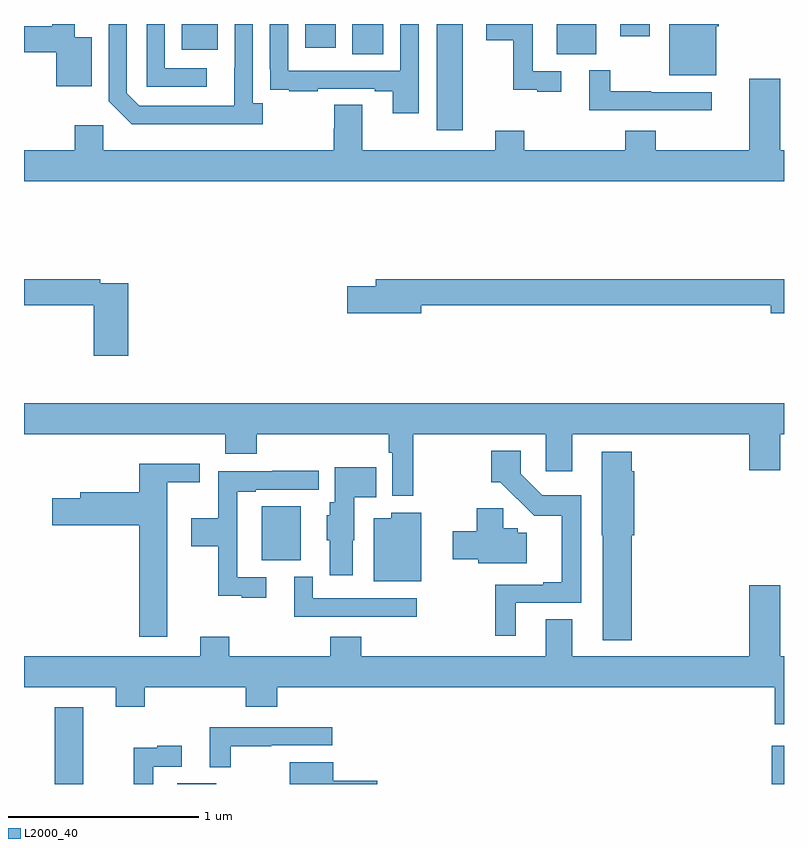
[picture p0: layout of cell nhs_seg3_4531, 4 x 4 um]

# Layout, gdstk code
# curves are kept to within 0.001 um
import gdstk
lib = gdstk.Library(unit=1e-6, precision=1e-09)
def R(c, l, rs):  # rectangles x0, y0, x1, y1
    for r in rs: c.add(gdstk.rectangle(r[:2], r[2:], *l))
def P(c, l, *ps):  # polygons
    for p in ps: c.add(gdstk.Polygon(p, *l))
L2000_40 = (2000, 40)

nhs_seg3_4531 = lib.new_cell('nhs_seg3_4531')
R(nhs_seg3_4531, L2000_40, [(353.162,708.4,353.311,708.805), (353.807,708.4,354.013,708.403), (356.936,708.4,357,708.601), (354.251,709.577,354.457,709.861), (355.172,711.84,355.309,712.4), (354.728,712.24,354.892,712.4), (355.805,712.241,356.011,712.4), (353.831,712.265,354.019,712.4), (354.479,712.275,354.64,712.4), (356.139,712.335,356.293,712.4)])
P(nhs_seg3_4531, L2000_40, [(356.644,712.388),(356.657,712.388),(356.657,712.4),(356.396,712.4),(356.396,712.13),(356.644,712.13)],
  [(355.828,712.152),(355.677,712.152),(355.677,712.4),(355.434,712.4),(355.434,712.315),(355.576,712.315),(355.576,712.055),(355.7,712.055),(355.7,712.044),(355.828,712.044)],
  [(353.356,712.33),(353.267,712.33),(353.267,712.4),(353.149,712.4),(353.149,712.388),(353,712.388),(353,712.252),(353.169,712.252),(353.169,712.073),(353.356,712.073)],
  [(355.077,712.4),(354.981,712.4),(354.981,712.155),(354.39,712.155),(354.39,712.4),(354.294,712.4),(354.294,712.162),(354.295,712.162),(354.295,712.053),(354.397,712.053),(354.397,712.047),(354.545,712.047),(354.545,712.059),(354.845,712.059),(354.845,712.047),(354.941,712.047),(354.941,711.93),(355.077,711.93)],
  [(353.962,712.167),(353.742,712.167),(353.742,712.4),(353.646,712.4),(353.646,712.071),(353.962,712.071)],
  [(354.256,711.982),(354.204,711.982),(354.204,712.4),(354.108,712.4),(354.107,711.969),(353.607,711.969),(353.541,712.035),(353.541,712.4),(353.445,712.4),(353.445,711.993),(353.566,711.872),(354.256,711.872)],
  [(356.62,712.041),(356.3,712.041),(356.3,712.046),(356.086,712.046),(356.086,712.156),(355.976,712.156),(355.976,711.945),(356.62,711.945)],
  [(357,711.736),(356.98,711.736),(356.98,712.111),(356.816,712.111),(356.816,711.736),(356.325,711.736),(356.325,711.838),(356.165,711.838),(356.165,711.736),(355.634,711.736),(355.634,711.838),(355.481,711.838),(355.481,711.736),(354.781,711.736),(354.781,711.974),(354.634,711.974),(354.634,711.849),(354.629,711.849),(354.629,711.736),(353.418,711.736),(353.418,711.868),(353.267,711.868),(353.267,711.736),(353,711.736),(353,711.572),(357,711.572)],
  [(355.09,710.92),(356.93,710.92),(356.93,710.878),(357,710.878),(357,711.056),(354.851,711.056),(354.851,711.02),(354.702,711.02),(354.702,710.878),(355.09,710.878)],
  [(353.549,711.036),(353.402,711.036),(353.402,711.056),(353,711.056),(353,710.92),(353.366,710.92),(353.366,710.655),(353.549,710.655)],
  [(355.048,710.24),(355.746,710.24),(355.746,710.046),(355.885,710.046),(355.885,710.24),(356.816,710.24),(356.816,710.052),(356.98,710.052),(356.98,710.24),(357,710.24),(357,710.404),(353,710.404),(353,710.24),(354.059,710.24),(354.059,710.138),(354.224,710.138),(354.224,710.24),(354.919,710.24),(354.919,710.144),(354.939,710.144),(354.939,709.917),(355.048,709.917)],
  [(355.588,709.353),(355.933,709.353),(355.933,709.92),(355.728,709.92),(355.614,710.034),(355.614,710.155),(355.459,710.155),(355.459,709.988),(355.507,709.988),(355.685,709.811),(355.829,709.811),(355.829,709.462),(355.733,709.462),(355.733,709.449),(355.479,709.449),(355.479,709.179),(355.588,709.179)],
  [(356.198,709.71),(356.213,709.71),(356.213,710.046),(356.198,710.046),(356.198,710.149),(356.042,710.149),(356.042,709.71),(356.045,709.71),(356.045,709.157),(356.198,709.157)],
  [(353.755,709.988),(353.926,709.988),(353.926,710.086),(353.606,710.086),(353.606,709.935),(353.297,709.935),(353.297,709.905),(353.148,709.905),(353.148,709.763),(353.606,709.763),(353.606,709.176),(353.755,709.176)],
  [(354.73,709.683),(354.739,709.683),(354.739,709.91),(354.854,709.91),(354.854,710.068),(354.635,710.068),(354.635,709.884),(354.608,709.884),(354.608,709.815),(354.593,709.815),(354.593,709.683),(354.608,709.683),(354.608,709.5),(354.73,709.5)],
  [(354.274,709.488),(354.123,709.488),(354.123,709.938),(354.22,709.938),(354.22,709.95),(354.55,709.95),(354.55,710.048),(354.307,710.048),(354.307,710.046),(354.022,710.046),(354.022,709.798),(353.88,709.798),(353.88,709.651),(354.022,709.651),(354.022,709.391),(354.146,709.391),(354.146,709.38),(354.274,709.38)],
  [(355.645,709.723),(355.599,709.723),(355.599,709.746),(355.523,709.746),(355.523,709.851),(355.384,709.851),(355.384,709.73),(355.257,709.73),(355.257,709.583),(355.391,709.583),(355.391,709.562),(355.645,709.562)],
  [(355.09,709.828),(354.932,709.828),(354.932,709.798),(354.842,709.798),(354.842,709.466),(355.09,709.466)],
  [(355.066,709.377),(354.519,709.377),(354.519,709.492),(354.422,709.492),(354.422,709.281),(355.066,709.281)],
  [(357,709.072),(356.98,709.072),(356.98,709.447),(356.816,709.447),(356.816,709.072),(355.885,709.072),(355.885,709.267),(355.745,709.267),(355.745,709.072),(354.776,709.072),(354.776,709.174),(354.611,709.174),(354.611,709.072),(354.08,709.072),(354.08,709.174),(353.927,709.174),(353.927,709.072),(353,709.072),(353,708.908),(353.483,708.908),(353.483,708.806),(353.636,708.806),(353.636,708.908),(354.167,708.908),(354.167,708.806),(354.332,708.806),(354.332,708.908),(356.951,708.908),(356.951,708.714),(357,708.714)],
  [(354.088,708.598),(354.302,708.598),(354.302,708.603),(354.622,708.603),(354.622,708.699),(353.978,708.699),(353.978,708.488),(354.088,708.488)],
  [(353.679,708.492),(353.83,708.492),(353.83,708.601),(353.702,708.601),(353.702,708.59),(353.578,708.59),(353.578,708.4),(353.679,708.4)],
  [(354.859,708.416),(354.628,708.416),(354.628,708.514),(354.398,708.514),(354.398,708.4),(354.859,708.4)])

lib.write_gds('nhs_seg3_4531.gds')
